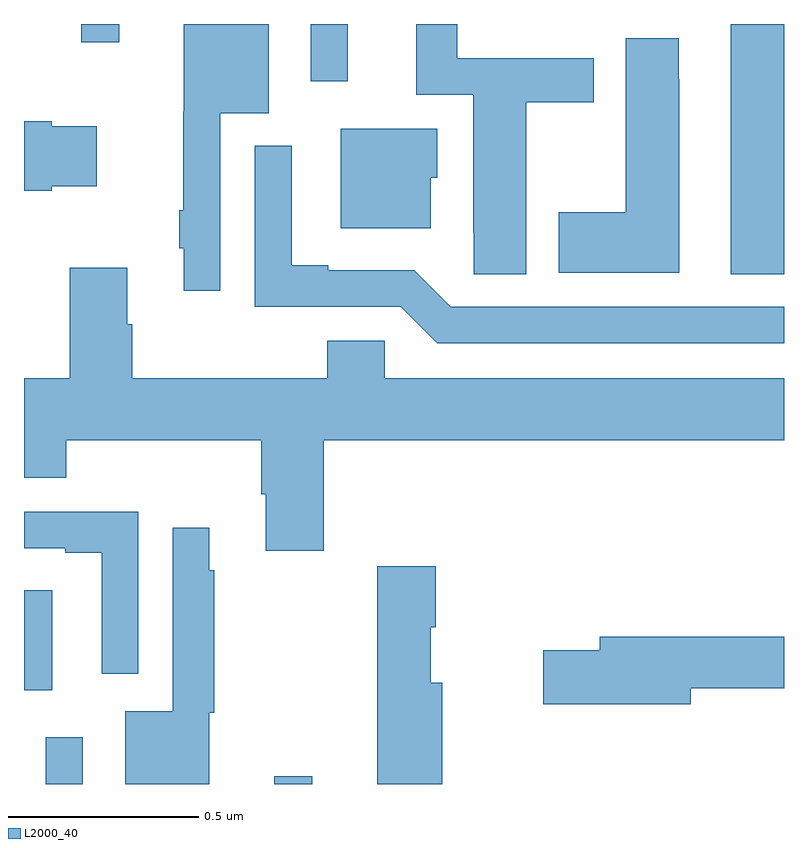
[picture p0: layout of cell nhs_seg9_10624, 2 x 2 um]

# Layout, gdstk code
import gdstk
lib = gdstk.Library(unit=1e-6, precision=1e-09)
def R(c, l, rs):  # rectangles x0, y0, x1, y1
    for r in rs: c.add(gdstk.rectangle(r[:2], r[2:], *l))
def P(c, l, *ps):  # polygons
    for p in ps: c.add(gdstk.Polygon(p, *l))
L2000_40 = (2000, 40)

nhs_seg9_10624 = lib.new_cell('nhs_seg9_10624')
R(nhs_seg9_10624, L2000_40, [(245.057,1211.5,245.154,1211.623), (245.659,1211.5,245.758,1211.521), (245,1211.747,245.074,1212.01), (246.86,1212.841,247,1213.5), (245.754,1213.35,245.852,1213.5), (245.15,1213.452,245.25,1213.5)])
P(nhs_seg9_10624, L2000_40, [(245.517,1213.265),(245.644,1213.265),(245.644,1213.5),(245.42,1213.5),(245.42,1213.269),(245.419,1213.269),(245.419,1213.01),(245.409,1213.01),(245.409,1212.91),(245.42,1212.91),(245.42,1212.798),(245.517,1212.798)],
  [(246.322,1213.294),(246.499,1213.294),(246.499,1213.41),(246.14,1213.41),(246.14,1213.5),(246.032,1213.5),(246.032,1213.314),(246.182,1213.314),(246.182,1212.952),(246.183,1212.952),(246.183,1212.841),(246.322,1212.841)],
  [(246.724,1213.355),(246.723,1213.355),(246.723,1213.463),(246.584,1213.463),(246.584,1213.005),(246.407,1213.005),(246.407,1212.845),(246.724,1212.845)],
  [(245.073,1213.073),(245.191,1213.073),(245.191,1213.231),(245.073,1213.231),(245.073,1213.244),(245,1213.244),(245,1213.061),(245.073,1213.061)],
  [(246.07,1213.095),(246.088,1213.095),(246.088,1213.225),(245.834,1213.225),(245.834,1212.962),(246.07,1212.962)],
  [(247,1212.756),(246.123,1212.756),(246.027,1212.852),(245.8,1212.852),(245.8,1212.865),(245.704,1212.865),(245.704,1213.18),(245.607,1213.18),(245.607,1212.756),(245.991,1212.756),(246.087,1212.66),(247,1212.66)],
  [(245.789,1212.404),(247,1212.404),(247,1212.568),(245.949,1212.568),(245.949,1212.666),(245.798,1212.666),(245.798,1212.568),(245.285,1212.568),(245.285,1212.71),(245.272,1212.71),(245.272,1212.859),(245.12,1212.859),(245.12,1212.568),(245,1212.568),(245,1212.306),(245.111,1212.306),(245.111,1212.404),(245.624,1212.404),(245.624,1212.262),(245.636,1212.262),(245.636,1212.114),(245.789,1212.114)],
  [(245.301,1212.216),(245,1212.216),(245,1212.12),(245.108,1212.12),(245.108,1212.108),(245.204,1212.108),(245.204,1211.79),(245.301,1211.79)],
  [(245.488,1211.688),(245.5,1211.688),(245.5,1212.062),(245.488,1212.062),(245.488,1212.175),(245.391,1212.175),(245.391,1211.692),(245.267,1211.692),(245.267,1211.5),(245.488,1211.5)],
  [(246.101,1211.766),(246.07,1211.766),(246.07,1211.913),(246.083,1211.913),(246.083,1212.073),(245.929,1212.073),(245.929,1211.766),(245.93,1211.766),(245.93,1211.5),(246.101,1211.5)],
  [(246.754,1211.752),(247,1211.752),(247,1211.888),(246.515,1211.888),(246.515,1211.852),(246.366,1211.852),(246.366,1211.71),(246.754,1211.71)])

lib.write_gds('nhs_seg9_10624.gds')
